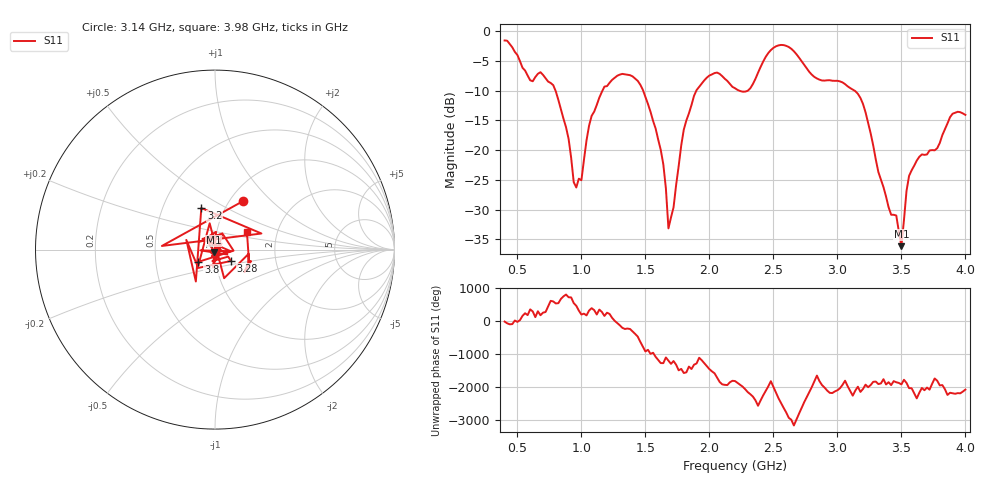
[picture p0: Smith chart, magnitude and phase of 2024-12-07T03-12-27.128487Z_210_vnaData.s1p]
!Created with skrf (http://scikit-rf.org).
# Hz S RI R 50.0
!freq ReS11 ImS11
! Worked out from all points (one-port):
!   181 points, 400 MHz to 4 GHz, reference 50 ohm
!   lowest |S11| = -36.2 dB at 3.5 GHz (marker M1), VSWR 1.03, Z = 49.3 - j1.39 ohm
!   |S11| at or under -10 dB: 797.2 MHz to 1.165 GHz (367.8 MHz wide, 37.5 % of centre); 1.482 GHz to 1.898 GHz (416.3 MHz wide, 24.6 % of centre); 3.132 GHz to end of sweep (the widest 3 of 4)
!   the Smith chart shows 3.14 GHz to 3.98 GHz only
!   S11 on the Smith chart (normalised r, x): 3.14 GHz: 1.15, +0.69; 3.2 GHz: 0.78, +0.38; 3.28 GHz: 1.18, -0.15; 3.8 GHz: 0.82, -0.11; 3.98 GHz: 1.40, +0.29
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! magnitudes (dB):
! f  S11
! 400 MHz  -1.6
! 600 MHz  -8.3
! 780 MHz  -9.1
! 860 MHz  -14.7
! 960 MHz  -26.3
! 1 GHz  -25.1
! 1.08 GHz  -14.3
! 1.3 GHz  -7.3
! 1.44 GHz  -8.4
! 1.54 GHz  -13.6
! 1.64 GHz  -22.4
! 1.68 GHz  -33.2
! 1.76 GHz  -22.7
! 1.9 GHz  -9.9
! 2.06 GHz  -7.0
! 2.2 GHz  -9.6
! 2.32 GHz  -9.6
! 2.5 GHz  -2.8
! 2.66 GHz  -3.4
! 3.1 GHz  -9.6
! 3.14 GHz  -10.1
! 3.2 GHz  -12.3
! 3.28 GHz  -19.2
! 3.5 GHz  -36.2
! 3.56 GHz  -24.3
! 3.8 GHz  -18.8
! 3.98 GHz  -13.8
! 4 GHz  -14.1
